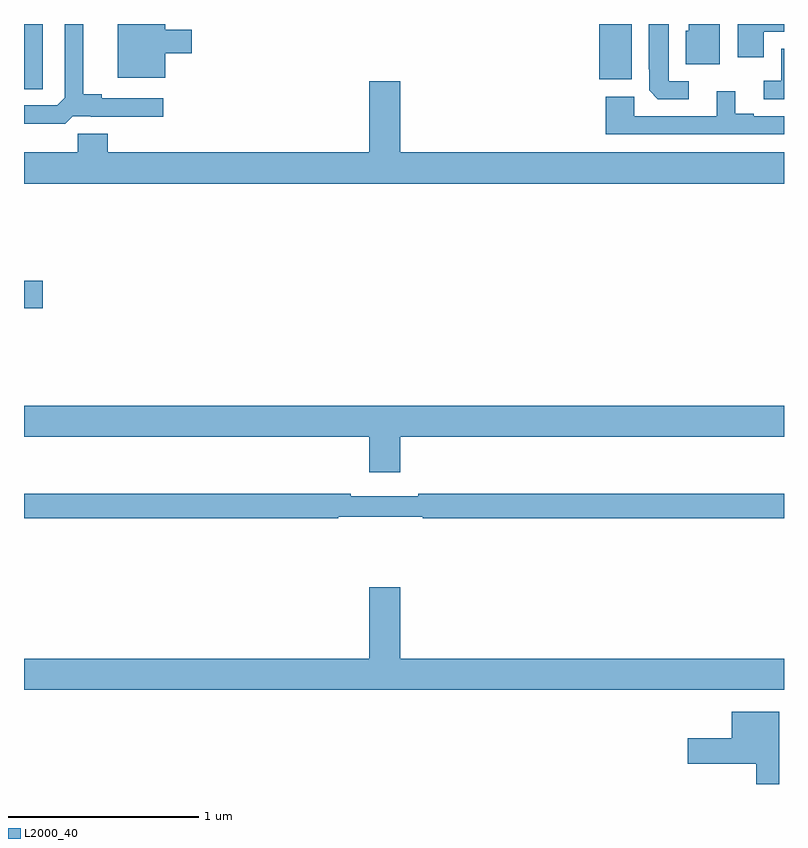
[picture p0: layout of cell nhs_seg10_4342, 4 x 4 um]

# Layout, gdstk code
import gdstk
lib = gdstk.Library(unit=1e-6, precision=1e-09)
def R(c, l, rs):  # rectangles x0, y0, x1, y1
    for r in rs: c.add(gdstk.rectangle(r[:2], r[2:], *l))
def P(c, l, *ps):  # polygons
    for p in ps: c.add(gdstk.Polygon(p, *l))
L2000_40 = (2000, 40)

nhs_seg10_4342 = lib.new_cell('nhs_seg10_4342')
R(nhs_seg10_4342, L2000_40, [(355,1289.003,355.099,1289.15), (358.028,1290.209,358.198,1290.5)])
P(nhs_seg10_4342, L2000_40, [(355.744,1290.347),(355.882,1290.347),(355.882,1290.469),(355.744,1290.469),(355.744,1290.5),(355.493,1290.5),(355.493,1290.218),(355.744,1290.218)],
  [(358.498,1290.198),(358.393,1290.198),(358.393,1290.5),(358.289,1290.5),(358.289,1290.262),(358.29,1290.262),(358.29,1290.151),(358.336,1290.105),(358.498,1290.105)],
  [(355.257,1290.015),(355.351,1290.015),(355.351,1290.011),(355.732,1290.011),(355.732,1290.108),(355.408,1290.108),(355.408,1290.131),(355.313,1290.131),(355.313,1290.5),(355.215,1290.5),(355.215,1290.111),(355.176,1290.072),(355,1290.072),(355,1289.976),(355.217,1289.976)],
  [(355.098,1290.5),(355.002,1290.5),(355.002,1290.3),(355,1290.3),(355,1290.157),(355.098,1290.157)],
  [(358.663,1290.5),(358.499,1290.5),(358.499,1290.465),(358.484,1290.465),(358.484,1290.288),(358.663,1290.288)],
  [(358.894,1290.458),(359,1290.458),(359,1290.5),(358.757,1290.5),(358.757,1290.324),(358.894,1290.324)],
  [(359,1290.37),(358.985,1290.37),(358.985,1290.201),(358.893,1290.201),(358.893,1290.105),(359,1290.105)],
  [(359,1289.824),(356.98,1289.824),(356.98,1290.199),(356.816,1290.199),(356.816,1289.824),(355.442,1289.824),(355.442,1289.922),(355.282,1289.922),(355.282,1289.824),(355,1289.824),(355,1289.66),(359,1289.66)],
  [(359,1290.015),(358.84,1290.015),(358.84,1290.028),(358.744,1290.028),(358.744,1290.145),(358.646,1290.145),(358.646,1290.015),(358.212,1290.015),(358.212,1290.118),(358.061,1290.118),(358.061,1289.919),(359,1289.919)],
  [(356.98,1288.328),(359,1288.328),(359,1288.492),(355,1288.492),(355,1288.328),(356.816,1288.328),(356.816,1288.14),(356.98,1288.14)],
  [(356.654,1287.906),(357.098,1287.906),(357.098,1287.898),(359,1287.898),(359,1288.027),(357.076,1288.027),(357.076,1288.014),(356.72,1288.014),(356.72,1288.027),(355,1288.027),(355,1287.898),(356.654,1287.898)],
  [(359,1287.16),(356.98,1287.16),(356.98,1287.535),(356.816,1287.535),(356.816,1287.16),(355,1287.16),(355,1286.996),(359,1286.996)],
  [(358.975,1286.881),(358.724,1286.881),(358.724,1286.74),(358.494,1286.74),(358.494,1286.606),(358.854,1286.606),(358.854,1286.5),(358.975,1286.5)])

lib.write_gds('nhs_seg10_4342.gds')
